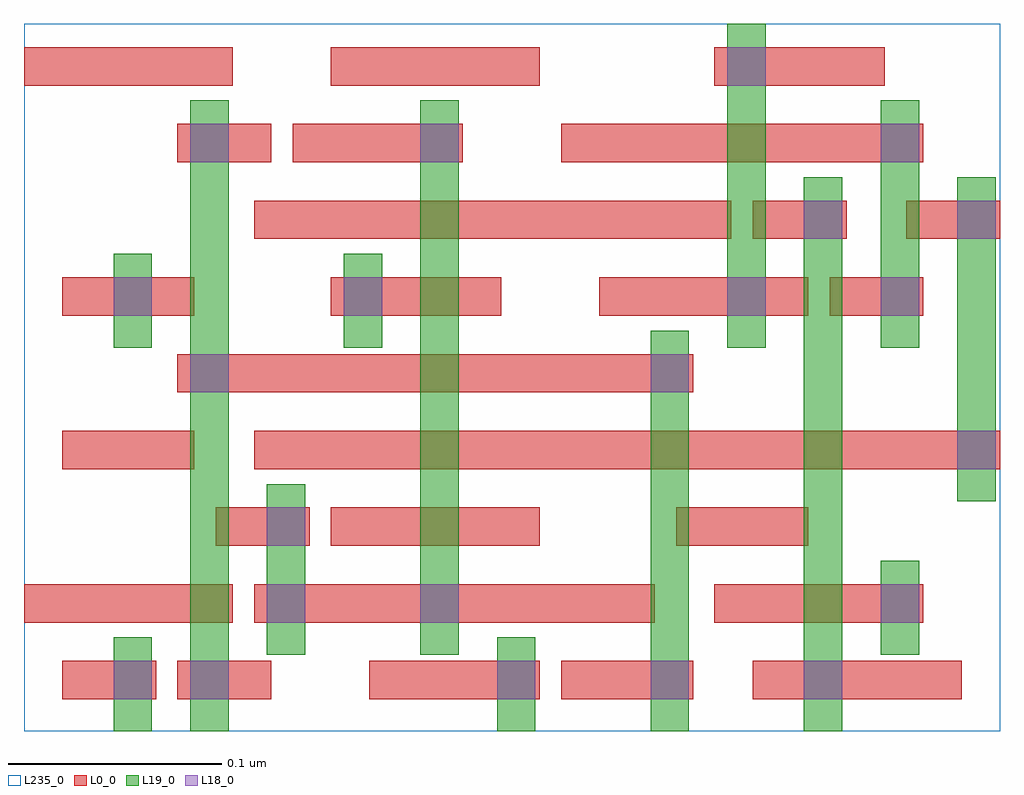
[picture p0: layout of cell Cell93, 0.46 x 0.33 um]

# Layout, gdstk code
import gdstk
lib = gdstk.Library(unit=1e-6, precision=2.5e-10)
def R(c, l, rs):  # rectangles x0, y0, x1, y1
    for r in rs: c.add(gdstk.rectangle(r[:2], r[2:], *l))
def A(c, l, x, y, w, h, nx, ny, dx, dy):  # array of equal rectangles
    R(c, l, [(x+i*dx, y+j*dy, x+i*dx+w, y+j*dy+h) for i in range(nx) for j in range(ny)])
L0_0 = (0, 0)
L18_0 = (18, 0)
L19_0 = (19, 0)
L235_0 = (235, 0)

cell93 = lib.new_cell('Cell93')
R(cell93, L0_0, [(0.022,-0.001,0.066,0.017), (0.076,-0.001,0.12,0.017), (0.166,-0.001,0.246,0.017), (0.256,-0.001,0.318,0.017), (0.346,-0.001,0.444,0.017), (0.004,0.035,0.102,0.053), (0.112,0.035,0.3,0.053), (0.328,0.035,0.426,0.053), (0.094,0.071,0.138,0.089), (0.148,0.071,0.246,0.089), (0.31,0.071,0.372,0.089), (0.022,0.107,0.084,0.125), (0.112,0.107,0.462,0.125), (0.076,0.143,0.318,0.161), (0.022,0.179,0.084,0.197), (0.148,0.179,0.228,0.197), (0.274,0.179,0.372,0.197), (0.382,0.179,0.426,0.197), (0.112,0.215,0.336,0.233), (0.346,0.215,0.39,0.233), (0.418,0.215,0.462,0.233), (0.076,0.251,0.12,0.269), (0.13,0.251,0.21,0.269), (0.256,0.251,0.426,0.269), (0.004,0.287,0.102,0.305), (0.148,0.287,0.246,0.305), (0.328,0.287,0.408,0.305)])
A(cell93, L18_0, 0.226, -0.001, 0.018, 0.018, 3, 1, 0.072, 0)
R(cell93, L18_0, [(0.046,-0.001,0.064,0.017), (0.082,-0.001,0.1,0.017), (0.118,0.035,0.136,0.053), (0.19,0.035,0.208,0.053), (0.406,0.035,0.424,0.053), (0.118,0.071,0.136,0.089), (0.442,0.107,0.46,0.125), (0.082,0.143,0.1,0.161), (0.298,0.143,0.316,0.161), (0.046,0.179,0.064,0.197), (0.154,0.179,0.172,0.197), (0.334,0.179,0.352,0.197), (0.406,0.179,0.424,0.197), (0.37,0.215,0.388,0.233), (0.442,0.215,0.46,0.233), (0.082,0.251,0.1,0.269), (0.19,0.251,0.208,0.269), (0.406,0.251,0.424,0.269), (0.334,0.287,0.352,0.305)])
R(cell93, L19_0, [(0.046,-0.016,0.064,0.028), (0.082,-0.016,0.1,0.28), (0.226,-0.016,0.244,0.028), (0.298,-0.016,0.316,0.172), (0.37,-0.016,0.388,0.244), (0.118,0.02,0.136,0.1), (0.19,0.02,0.208,0.28), (0.406,0.02,0.424,0.064), (0.442,0.092,0.46,0.244), (0.046,0.164,0.064,0.208), (0.154,0.164,0.172,0.208), (0.334,0.164,0.352,0.316), (0.406,0.164,0.424,0.28)])
R(cell93, L235_0, [(0.004,-0.016,0.462,0.316)])

lib.write_gds('Cell93.gds')
